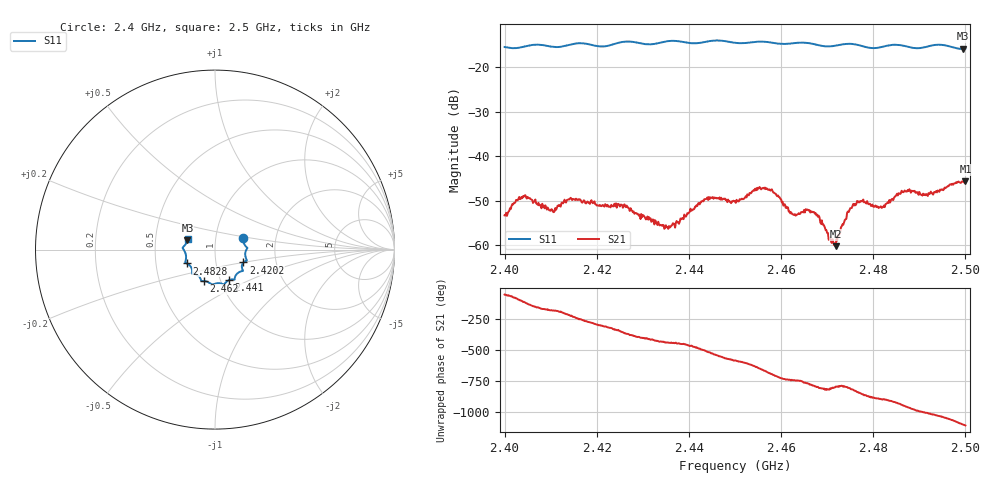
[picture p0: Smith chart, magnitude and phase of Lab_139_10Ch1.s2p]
# Hz S RI R 50
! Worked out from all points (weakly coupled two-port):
!   601 points, 2.4 GHz to 2.5 GHz, reference 50 ohm
!   highest |S21| = -45.65 dB at 2.5 GHz (marker M1); lowest = -60.3 dB at 2.4718 GHz (marker M2)
!   lowest |S11| = -15.8 dB at 2.4995 GHz (marker M3), VSWR 1.39, Z = 36.5 + j4.03 ohm
!   |S11| at or under -10 dB: start of sweep to end of sweep
!   S12 and S22 are empty: the file has one direction only
!   S11 on the Smith chart (normalised r, x): 2.4 GHz: 1.36, +0.18; 2.4202 GHz: 1.36, -0.20; 2.441 GHz: 1.10, -0.39; 2.462 GHz: 0.84, -0.30; 2.4828 GHz: 0.72, -0.11; 2.5 GHz: 0.73, +0.09
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2.4e9  0.1581 0.0625  0.00126 -0.00174  0 0  0 0
2.404167e9  0.1705 0.0189  -0.00134 -0.00324  0 0  0 0
2.410333e9  0.1708 -0.00955  -0.0025 8.69e-05  0 0  0 0
2.416667e9  0.1775 -0.0606  -0.00081 0.00296  0 0  0 0
2.420167e9  0.1585 -0.0714  0.0012 0.00252  0 0  0 0
2.426333e9  0.1563 -0.1179  0.00263 -0.000404  0 0  0 0
2.433333e9  0.1121 -0.1509  0.000668 -0.0017  0 0  0 0
2.435833e9  0.1095 -0.1662  0.000236 -0.00155  0 0  0 0
2.441e9  0.0786 -0.1699  -0.00101 -0.0023  0 0  0 0
2.4445e9  0.0539 -0.1909  -0.00304 -0.00122  0 0  0 0
2.45e9  0.0284 -0.1876  -0.00224 0.00218  0 0  0 0
2.4565e9  -0.0179 -0.1942  0.00262 0.00357  0 0  0 0
2.462e9  -0.0604 -0.1759  0.00214 -0.000757  0 0  0 0
2.466667e9  -0.0788 -0.1681  0.0012 -0.002  0 0  0 0
2.471833e9  -0.1119 -0.1362  0.000277 -0.000928  0 0  0 0
2.476167e9  -0.1272 -0.1299  -0.000842 -0.00267  0 0  0 0
2.482833e9  -0.1574 -0.0768  -0.00291 -9.86e-05  0 0  0 0
2.483333e9  -0.1605 -0.0754  -0.00297 0.000239  0 0  0 0
2.486667e9  -0.1638 -0.0626  -0.00274 0.00288  0 0  0 0
2.491667e9  -0.1715 -0.00515  0.000841 0.00356  0 0  0 0
2.4995e9  -0.1533 0.0537  0.00495 -0.00156  0 0  0 0
2.5e9  -0.1521 0.0608  0.00473 -0.0022  0 0  0 0
